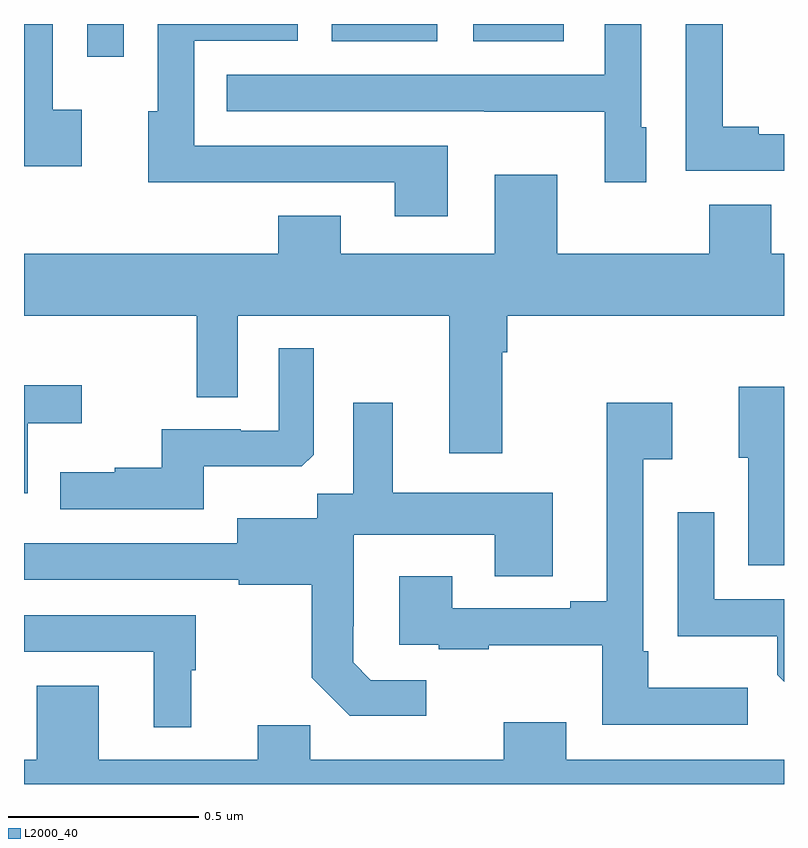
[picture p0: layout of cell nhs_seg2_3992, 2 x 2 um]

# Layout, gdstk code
import gdstk
lib = gdstk.Library(unit=1e-6, precision=1e-09)
def R(c, l, rs):  # rectangles x0, y0, x1, y1
    for r in rs: c.add(gdstk.rectangle(r[:2], r[2:], *l))
def P(c, l, *ps):  # polygons
    for p in ps: c.add(gdstk.Polygon(p, *l))
L2000_40 = (2000, 40)

nhs_seg2_3992 = lib.new_cell('nhs_seg2_3992')
R(nhs_seg2_3992, L2000_40, [(161.166,585.714,161.262,585.8), (161.81,585.755,162.088,585.8), (162.182,585.755,162.421,585.8)])
P(nhs_seg2_3992, L2000_40, [(162.637,585.528),(162.624,585.528),(162.624,585.8),(162.528,585.8),(162.528,585.666),(161.533,585.666),(161.533,585.57),(162.211,585.57),(162.211,585.569),(162.528,585.569),(162.528,585.384),(162.637,585.384)],
  [(161.152,585.574),(161.076,585.574),(161.076,585.8),(161,585.8),(161,585.426),(161.152,585.426)],
  [(162.115,585.48),(161.448,585.48),(161.448,585.756),(161.721,585.756),(161.721,585.8),(161.352,585.8),(161.352,585.57),(161.327,585.57),(161.327,585.383),(161.545,585.383),(161.545,585.384),(161.975,585.384),(161.975,585.294),(162.115,585.294)],
  [(163,585.51),(162.934,585.51),(162.934,585.53),(162.839,585.53),(162.839,585.8),(162.741,585.8),(162.741,585.414),(163,585.414)],
  [(161.669,585.295),(161.669,585.196),(161,585.196),(161,585.032),(161.454,585.032),(161.454,584.818),(161.562,584.818),(161.562,585.032),(162.119,585.032),(162.119,584.67),(162.259,584.67),(162.259,584.936),(162.272,584.936),(162.272,585.032),(163,585.032),(163,585.196),(162.967,585.196),(162.967,585.325),(162.803,585.325),(162.803,585.196),(162.403,585.196),(162.403,585.403),(162.239,585.403),(162.239,585.196),(161.833,585.196),(161.833,585.295)],
  [(161.473,584.636),(161.731,584.636),(161.763,584.667),(161.763,584.947),(161.67,584.947),(161.67,584.73),(161.57,584.73),(161.57,584.733),(161.363,584.733),(161.363,584.632),(161.239,584.632),(161.239,584.62),(161.095,584.62),(161.095,584.523),(161.473,584.523)],
  [(161.01,584.75),(161.152,584.75),(161.152,584.849),(161,584.849),(161,584.565),(161.01,584.565)],
  [(163,584.846),(162.881,584.846),(162.881,584.658),(162.906,584.658),(162.906,584.376),(163,584.376)],
  [(162.904,584.053),(162.643,584.053),(162.643,584.149),(162.63,584.149),(162.63,584.654),(162.706,584.654),(162.706,584.803),(162.533,584.803),(162.533,584.281),(162.437,584.281),(162.437,584.262),(162.127,584.262),(162.127,584.347),(161.987,584.347),(161.987,584.166),(162.091,584.166),(162.091,584.154),(162.223,584.154),(162.223,584.165),(162.522,584.165),(162.522,583.956),(162.904,583.956)],
  [(162.058,584.073),(161.913,584.073),(161.866,584.12),(161.866,584.215),(161.868,584.215),(161.868,584.456),(162.239,584.456),(162.239,584.347),(162.391,584.347),(162.391,584.566),(161.971,584.566),(161.971,584.803),(161.867,584.803),(161.867,584.564),(161.772,584.564),(161.772,584.5),(161.561,584.5),(161.561,584.433),(161.003,584.433),(161.003,584.434),(161,584.434),(161,584.337),(161.565,584.337),(161.565,584.325),(161.757,584.325),(161.757,584.079),(161.857,583.979),(162.058,583.979)],
  [(163,584.286),(162.816,584.286),(162.816,584.515),(162.72,584.515),(162.72,584.189),(162.982,584.189),(162.982,584.087),(163,584.069)],
  [(161.44,584.1),(161.452,584.1),(161.452,584.244),(161,584.244),(161,584.148),(161.342,584.148),(161.342,583.949),(161.44,583.949)],
  [(163,583.864),(162.427,583.864),(162.427,583.963),(162.263,583.963),(162.263,583.864),(161.753,583.864),(161.753,583.955),(161.615,583.955),(161.615,583.864),(161.197,583.864),(161.197,584.059),(161.033,584.059),(161.033,583.864),(161,583.864),(161,583.8),(163,583.8)])

lib.write_gds('nhs_seg2_3992.gds')
